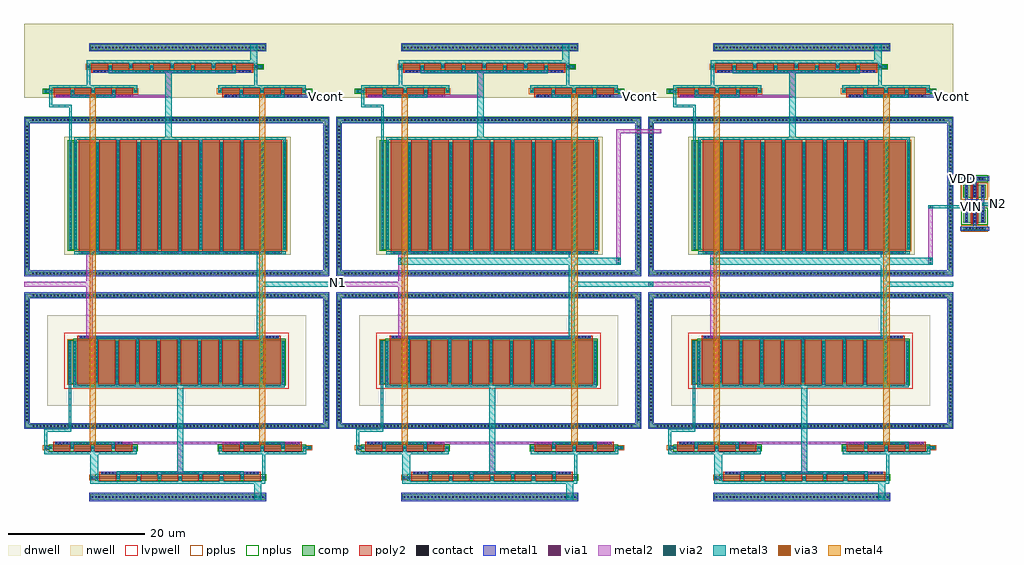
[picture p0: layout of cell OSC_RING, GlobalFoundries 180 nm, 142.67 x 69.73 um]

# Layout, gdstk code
from math import pi, radians
import gdstk
lib = gdstk.Library(unit=1e-6, precision=5e-09)
def R(c, l, rs):  # rectangles x0, y0, x1, y1
    for r in rs: c.add(gdstk.rectangle(r[:2], r[2:], *l))
def A(c, l, x, y, w, h, nx, ny, dx, dy):  # array of equal rectangles
    R(c, l, [(x+i*dx, y+j*dy, x+i*dx+w, y+j*dy+h) for i in range(nx) for j in range(ny)])
def P(c, l, *ps):  # polygons
    for p in ps: c.add(gdstk.Polygon(p, *l))
dnwell = (12, 0)
nwell = (21, 0)
comp = (22, 0)
poly2 = (30, 0)
pplus = (31, 0)
nplus = (32, 0)
contact = (33, 0)
metal1 = (34, 0)
via1 = (35, 0)
metal2 = (36, 0)
via2 = (38, 0)
via3 = (40, 0)
metal3 = (42, 0)
metal4 = (46, 0)
lvpwell = (204, 0)

nfet_2_1 = lib.new_cell('nfet$2$1')
R(nfet_2_1, comp, [(-0.42,-0.01,0,0.43), (11.94,-0.01,12.36,0.43), (12.36,-0.01,13.07,0.43), (0,0,11.94,0.42)])
A(nfet_2_1, poly2, 0.19, -0.3, 2.5, 1.02, 4, 1, 3.02, 0)
A(nfet_2_1, poly2, 0.19, 0.72, 2.5, 0.36, 4, 1, 3.02, 0)
R(nfet_2_1, pplus, [(12.36,-0.17,13.24,0.59)])
R(nfet_2_1, nplus, [(-0.59,-0.25,12.36,0.67)])
A(nfet_2_1, contact, 2.84, 0.1, 0.22, 0.22, 3, 1, 3.02, 0)
A(nfet_2_1, contact, 0.565, 0.79, 0.22, 0.22, 4, 1, 0.51, 0)
A(nfet_2_1, contact, 3.585, 0.79, 0.22, 0.22, 4, 1, 0.51, 0)
A(nfet_2_1, contact, 6.605, 0.79, 0.22, 0.22, 4, 1, 0.51, 0)
A(nfet_2_1, contact, 9.625, 0.79, 0.22, 0.22, 4, 1, 0.51, 0)
R(nfet_2_1, contact, [(-0.32,0.1,-0.1,0.32), (12.04,0.1,12.26,0.32), (12.75,0.1,12.97,0.32)])
A(nfet_2_1, metal1, 2.76, 0.02, 0.38, 0.38, 3, 1, 3.02, 0)
A(nfet_2_1, metal1, 0.485, 0.71, 1.91, 0.38, 4, 1, 3.02, 0)
R(nfet_2_1, metal1, [(-0.4,0.02,-0.02,0.4), (11.96,0.02,12.34,0.4), (12.67,0.02,13.05,0.4)])

pfet_6_1 = lib.new_cell('pfet$6$1')
R(pfet_6_1, nwell, [(-1.16,-0.71,13.83,1.13)])
R(pfet_6_1, comp, [(-0.46,-0.01,0,0.43), (11.94,-0.01,12.4,0.43), (12.4,-0.01,13.13,0.43), (0,0,11.94,0.42)])
A(pfet_6_1, poly2, 0.19, -0.3, 2.5, 1.02, 4, 1, 3.02, 0)
A(pfet_6_1, poly2, 0.19, 0.72, 2.5, 0.38, 4, 1, 3.02, 0)
R(pfet_6_1, pplus, [(-0.63,-0.25,12.4,0.67)])
R(pfet_6_1, nplus, [(12.4,-0.17,13.3,0.59)])
A(pfet_6_1, contact, 2.84, 0.1, 0.22, 0.22, 3, 1, 3.02, 0)
A(pfet_6_1, contact, 0.565, 0.8, 0.22, 0.22, 4, 1, 0.51, 0)
A(pfet_6_1, contact, 3.585, 0.8, 0.22, 0.22, 4, 1, 0.51, 0)
A(pfet_6_1, contact, 6.605, 0.8, 0.22, 0.22, 4, 1, 0.51, 0)
A(pfet_6_1, contact, 9.625, 0.8, 0.22, 0.22, 4, 1, 0.51, 0)
R(pfet_6_1, contact, [(-0.34,0.1,-0.12,0.32), (12.06,0.1,12.28,0.32), (12.79,0.1,13.01,0.32)])
A(pfet_6_1, metal1, 2.76, 0.02, 0.38, 0.38, 3, 1, 3.02, 0)
A(pfet_6_1, metal1, 0.485, 0.72, 1.91, 0.38, 4, 1, 3.02, 0)
R(pfet_6_1, metal1, [(-0.42,0.02,-0.04,0.4), (11.98,0.02,12.36,0.4), (12.71,0.02,13.09,0.4)])

pfet_7_1 = lib.new_cell('pfet$7$1')
R(pfet_7_1, nwell, [(-1.16,-0.71,13.83,1.13)])
R(pfet_7_1, comp, [(-0.46,-0.01,0,0.43), (11.94,-0.01,12.4,0.43), (12.4,-0.01,13.13,0.43), (0,0,11.94,0.42)])
A(pfet_7_1, poly2, 0.19, -0.3, 2.5, 1.02, 4, 1, 3.02, 0)
A(pfet_7_1, poly2, 0.19, 0.72, 2.5, 0.38, 4, 1, 3.02, 0)
R(pfet_7_1, pplus, [(-0.63,-0.25,12.4,0.67)])
R(pfet_7_1, nplus, [(12.4,-0.17,13.3,0.59)])
A(pfet_7_1, contact, 2.84, 0.1, 0.22, 0.22, 3, 1, 3.02, 0)
A(pfet_7_1, contact, 0.565, 0.8, 0.22, 0.22, 4, 1, 0.51, 0)
A(pfet_7_1, contact, 3.585, 0.8, 0.22, 0.22, 4, 1, 0.51, 0)
A(pfet_7_1, contact, 6.605, 0.8, 0.22, 0.22, 4, 1, 0.51, 0)
A(pfet_7_1, contact, 9.625, 0.8, 0.22, 0.22, 4, 1, 0.51, 0)
R(pfet_7_1, contact, [(-0.34,0.1,-0.12,0.32), (12.06,0.1,12.28,0.32), (12.79,0.1,13.01,0.32)])
A(pfet_7_1, metal1, 2.76, 0.02, 0.38, 0.38, 3, 1, 3.02, 0)
A(pfet_7_1, metal1, 0.485, 0.72, 1.91, 0.38, 4, 1, 3.02, 0)
R(pfet_7_1, metal1, [(-0.42,0.02,-0.04,0.4), (11.98,0.02,12.36,0.4), (12.71,0.02,13.09,0.4)])

pfet_8 = lib.new_cell('pfet$8')
R(pfet_8, nwell, [(-1.16,-0.71,25.91,1.13)])
R(pfet_8, comp, [(-0.46,-0.01,0,0.43), (24.02,-0.01,24.48,0.43), (24.48,-0.01,25.21,0.43), (0,0,24.02,0.42)])
A(pfet_8, poly2, 0.19, -0.3, 2.5, 1.02, 8, 1, 3.02, 0)
A(pfet_8, poly2, 0.19, 0.72, 2.5, 0.38, 8, 1, 3.02, 0)
R(pfet_8, pplus, [(-0.63,-0.25,24.48,0.67)])
R(pfet_8, nplus, [(24.48,-0.17,25.38,0.59)])
A(pfet_8, contact, 2.84, 0.1, 0.22, 0.22, 7, 1, 3.02, 0)
A(pfet_8, contact, 0.565, 0.8, 0.22, 0.22, 4, 1, 0.51, 0)
A(pfet_8, contact, 3.585, 0.8, 0.22, 0.22, 4, 1, 0.51, 0)
A(pfet_8, contact, 6.605, 0.8, 0.22, 0.22, 4, 1, 0.51, 0)
A(pfet_8, contact, 9.625, 0.8, 0.22, 0.22, 4, 1, 0.51, 0)
A(pfet_8, contact, 12.645, 0.8, 0.22, 0.22, 4, 1, 0.51, 0)
A(pfet_8, contact, 15.665, 0.8, 0.22, 0.22, 4, 1, 0.51, 0)
A(pfet_8, contact, 18.685, 0.8, 0.22, 0.22, 4, 1, 0.51, 0)
A(pfet_8, contact, 21.705, 0.8, 0.22, 0.22, 4, 1, 0.51, 0)
R(pfet_8, contact, [(-0.34,0.1,-0.12,0.32), (24.14,0.1,24.36,0.32), (24.87,0.1,25.09,0.32)])
A(pfet_8, metal1, 2.76, 0.02, 0.38, 0.38, 7, 1, 3.02, 0)
A(pfet_8, metal1, 0.485, 0.72, 1.91, 0.38, 8, 1, 3.02, 0)
R(pfet_8, metal1, [(-0.42,0.02,-0.04,0.4), (24.06,0.02,24.44,0.4), (24.79,0.02,25.17,0.4)])

nfet_1_1 = lib.new_cell('nfet$1$1')
R(nfet_1_1, comp, [(-0.42,-0.01,0,0.43), (24.02,-0.01,24.44,0.43), (24.44,-0.01,25.15,0.43), (0,0,24.02,0.42)])
A(nfet_1_1, poly2, 0.19, -0.3, 2.5, 1.02, 8, 1, 3.02, 0)
A(nfet_1_1, poly2, 0.19, 0.72, 2.5, 0.36, 8, 1, 3.02, 0)
R(nfet_1_1, pplus, [(24.44,-0.17,25.32,0.59)])
R(nfet_1_1, nplus, [(-0.59,-0.25,24.44,0.67)])
A(nfet_1_1, contact, 2.84, 0.1, 0.22, 0.22, 7, 1, 3.02, 0)
A(nfet_1_1, contact, 0.565, 0.79, 0.22, 0.22, 4, 1, 0.51, 0)
A(nfet_1_1, contact, 3.585, 0.79, 0.22, 0.22, 4, 1, 0.51, 0)
A(nfet_1_1, contact, 6.605, 0.79, 0.22, 0.22, 4, 1, 0.51, 0)
A(nfet_1_1, contact, 9.625, 0.79, 0.22, 0.22, 4, 1, 0.51, 0)
A(nfet_1_1, contact, 12.645, 0.79, 0.22, 0.22, 4, 1, 0.51, 0)
A(nfet_1_1, contact, 15.665, 0.79, 0.22, 0.22, 4, 1, 0.51, 0)
A(nfet_1_1, contact, 18.685, 0.79, 0.22, 0.22, 4, 1, 0.51, 0)
A(nfet_1_1, contact, 21.705, 0.79, 0.22, 0.22, 4, 1, 0.51, 0)
R(nfet_1_1, contact, [(-0.32,0.1,-0.1,0.32), (24.12,0.1,24.34,0.32), (24.83,0.1,25.05,0.32)])
A(nfet_1_1, metal1, 2.76, 0.02, 0.38, 0.38, 7, 1, 3.02, 0)
A(nfet_1_1, metal1, 0.485, 0.71, 1.91, 0.38, 8, 1, 3.02, 0)
R(nfet_1_1, metal1, [(-0.4,0.02,-0.02,0.4), (24.04,0.02,24.42,0.4), (24.75,0.02,25.13,0.4)])

nfet_10_1 = lib.new_cell('nfet$10$1')
R(nfet_10_1, dnwell, [(-3.55,-3.26,34.32,9.96)])
R(nfet_10_1, comp, [(-0.42,0,0,6.33), (0,0,30.06,6.33), (30.06,0,30.48,6.33), (30.48,0,31.19,6.33)])
P(nfet_10_1, comp, [(-6.75,-6.46),(-6.75,12.66),(-6.25,12.66),(-6.25,-5.96),(37.02,-5.96),(37.02,12.66),(-6.75,12.66),(-6.75,13.16),(37.52,13.16),(37.52,-6.46)])
A(nfet_10_1, poly2, 0.19, -0.3, 2.5, 6.93, 10, 1, 3.02, 0)
A(nfet_10_1, poly2, 0.19, 6.63, 2.5, 0.36, 10, 1, 3.02, 0)
R(nfet_10_1, pplus, [(30.48,-0.17,31.36,6.5)])
P(nfet_10_1, pplus, [(-6.92,-6.63),(-6.92,12.49),(-6.08,12.49),(-6.08,-5.79),(36.85,-5.79),(36.85,12.49),(-6.92,12.49),(-6.92,13.33),(37.69,13.33),(37.69,-6.63)])
R(nfet_10_1, nplus, [(-0.59,-0.24,30.48,6.57)])
A(nfet_10_1, contact, -5.635, -6.32, 0.22, 0.22, 83, 2, 0.51, 19.12)
A(nfet_10_1, contact, -6.61, -5.43, 0.22, 0.22, 1, 35, 0, 0.51)
A(nfet_10_1, contact, 37.16, -5.43, 0.22, 0.22, 1, 35, 0, 0.51)
A(nfet_10_1, contact, -0.32, 0.25, 0.22, 0.22, 1, 12, 0, 0.51)
A(nfet_10_1, contact, 2.84, 0.25, 0.22, 0.22, 9, 12, 3.02, 0.51)
A(nfet_10_1, contact, 30.16, 0.25, 0.22, 0.22, 1, 12, 0, 0.51)
A(nfet_10_1, contact, 30.87, 0.25, 0.22, 0.22, 1, 12, 0, 0.51)
A(nfet_10_1, contact, 0.565, 6.7, 0.22, 0.22, 4, 1, 0.51, 0)
A(nfet_10_1, contact, 3.585, 6.7, 0.22, 0.22, 4, 1, 0.51, 0)
A(nfet_10_1, contact, 6.605, 6.7, 0.22, 0.22, 4, 1, 0.51, 0)
A(nfet_10_1, contact, 9.625, 6.7, 0.22, 0.22, 4, 1, 0.51, 0)
A(nfet_10_1, contact, 12.645, 6.7, 0.22, 0.22, 4, 1, 0.51, 0)
A(nfet_10_1, contact, 15.665, 6.7, 0.22, 0.22, 4, 1, 0.51, 0)
A(nfet_10_1, contact, 18.685, 6.7, 0.22, 0.22, 4, 1, 0.51, 0)
A(nfet_10_1, contact, 21.705, 6.7, 0.22, 0.22, 4, 1, 0.51, 0)
A(nfet_10_1, contact, 24.725, 6.7, 0.22, 0.22, 4, 1, 0.51, 0)
A(nfet_10_1, contact, 27.745, 6.7, 0.22, 0.22, 4, 1, 0.51, 0)
A(nfet_10_1, metal1, 2.76, 0.17, 0.38, 5.99, 9, 1, 3.02, 0)
A(nfet_10_1, metal1, 0.485, 6.62, 1.91, 0.38, 10, 1, 3.02, 0)
R(nfet_10_1, metal1, [(-0.4,0.17,-0.02,6.16), (30.08,0.17,30.46,6.16), (30.79,0.17,31.17,6.16)])
R(nfet_10_1, lvpwell, [(-1.04,-0.75,31.81,7.45)])

nfet_3 = lib.new_cell('nfet$3')
R(nfet_3, comp, [(-0.42,-0.01,0,0.43), (11.94,-0.01,12.36,0.43), (12.36,-0.01,13.07,0.43), (0,0,11.94,0.42)])
A(nfet_3, poly2, 0.19, -0.3, 2.5, 1.02, 4, 1, 3.02, 0)
A(nfet_3, poly2, 0.19, 0.72, 2.5, 0.36, 4, 1, 3.02, 0)
R(nfet_3, pplus, [(12.36,-0.17,13.24,0.59)])
R(nfet_3, nplus, [(-0.59,-0.25,12.36,0.67)])
A(nfet_3, contact, 2.84, 0.1, 0.22, 0.22, 3, 1, 3.02, 0)
A(nfet_3, contact, 0.565, 0.79, 0.22, 0.22, 4, 1, 0.51, 0)
A(nfet_3, contact, 3.585, 0.79, 0.22, 0.22, 4, 1, 0.51, 0)
A(nfet_3, contact, 6.605, 0.79, 0.22, 0.22, 4, 1, 0.51, 0)
A(nfet_3, contact, 9.625, 0.79, 0.22, 0.22, 4, 1, 0.51, 0)
R(nfet_3, contact, [(-0.32,0.1,-0.1,0.32), (12.04,0.1,12.26,0.32), (12.75,0.1,12.97,0.32)])
A(nfet_3, metal1, 2.76, 0.02, 0.38, 0.38, 3, 1, 3.02, 0)
A(nfet_3, metal1, 0.485, 0.71, 1.91, 0.38, 4, 1, 3.02, 0)
R(nfet_3, metal1, [(-0.4,0.02,-0.02,0.4), (11.96,0.02,12.34,0.4), (12.67,0.02,13.05,0.4)])

pfet_4_1 = lib.new_cell('pfet$4$1')
R(pfet_4_1, nwell, [(-1.15,-0.69,31.94,16.515)])
R(pfet_4_1, comp, [(-0.46,0,0,15.825), (0,0,30.06,15.825), (30.06,0,30.52,15.825), (30.52,0,31.25,15.825)])
A(pfet_4_1, poly2, 0.19, -0.68, 2.5, 0.38, 10, 1, 3.02, 0)
A(pfet_4_1, poly2, 0.19, -0.3, 2.5, 16.425, 10, 1, 3.02, 0)
R(pfet_4_1, pplus, [(-0.63,-0.24,30.52,16.065)])
R(pfet_4_1, nplus, [(30.52,-0.17,31.42,15.995)])
A(pfet_4_1, contact, 0.565, -0.6, 0.22, 0.22, 4, 1, 0.51, 0)
A(pfet_4_1, contact, 3.585, -0.6, 0.22, 0.22, 4, 1, 0.51, 0)
A(pfet_4_1, contact, 6.605, -0.6, 0.22, 0.22, 4, 1, 0.51, 0)
A(pfet_4_1, contact, 9.625, -0.6, 0.22, 0.22, 4, 1, 0.51, 0)
A(pfet_4_1, contact, 12.645, -0.6, 0.22, 0.22, 4, 1, 0.51, 0)
A(pfet_4_1, contact, 15.665, -0.6, 0.22, 0.22, 4, 1, 0.51, 0)
A(pfet_4_1, contact, 18.685, -0.6, 0.22, 0.22, 4, 1, 0.51, 0)
A(pfet_4_1, contact, 21.705, -0.6, 0.22, 0.22, 4, 1, 0.51, 0)
A(pfet_4_1, contact, 24.725, -0.6, 0.22, 0.22, 4, 1, 0.51, 0)
A(pfet_4_1, contact, 27.745, -0.6, 0.22, 0.22, 4, 1, 0.51, 0)
A(pfet_4_1, contact, -0.34, 0.155, 0.22, 0.22, 1, 31, 0, 0.51)
A(pfet_4_1, contact, 2.84, 0.155, 0.22, 0.22, 9, 31, 3.02, 0.51)
A(pfet_4_1, contact, 30.18, 0.155, 0.22, 0.22, 1, 31, 0, 0.51)
A(pfet_4_1, contact, 30.91, 0.155, 0.22, 0.22, 1, 31, 0, 0.51)
A(pfet_4_1, metal1, 0.485, -0.68, 1.91, 0.38, 10, 1, 3.02, 0)
A(pfet_4_1, metal1, 2.76, 0.075, 0.38, 15.68, 9, 1, 3.02, 0)
R(pfet_4_1, metal1, [(-0.42,0.075,-0.04,15.755), (30.1,0.075,30.48,15.755), (30.83,0.075,31.21,15.755)])

osc_inv_1 = lib.new_cell('OSC_INV$1')
R(osc_inv_1, nwell, [(0,-306.74,44.61,-295.98)])
R(osc_inv_1, comp, [(9.35,-365.56,34.94,-364.69), (0.17,-332.67,43.93,-332.17), (43.93,-332.67,44.43,-310.23), (0.17,-332.17,0.67,-310.23), (0.17,-310.23,44.43,-309.73), (9.35,-299.82,34.94,-298.95)])
R(osc_inv_1, pplus, [(9.19,-365.71,35.1,-364.53)])
R(osc_inv_1, nplus, [(0,-332.83,43.77,-331.99), (43.77,-332.83,44.61,-310.41), (0,-331.99,0.84,-310.41), (0,-310.41,44.61,-309.57), (9.19,-299.98,35.1,-298.8)])
A(osc_inv_1, contact, 9.53, -365.23, 0.22, 0.22, 50, 2, 0.51, 65.73)
A(osc_inv_1, contact, 1.33, -332.53, 0.22, 0.22, 83, 2, 0.51, 22.44)
A(osc_inv_1, contact, 0.31, -331.51, 0.22, 0.22, 1, 41, 0, 0.51)
A(osc_inv_1, contact, 44.07, -331.51, 0.22, 0.22, 1, 41, 0, 0.51)
R(osc_inv_1, metal1, [(9.19,-365.71,35.1,-364.53), (12.175,-361.78,32.925,-361.4), (5.465,-357.44,14.765,-357.06), (29.53,-357.44,38.675,-357.06), (0,-355.18,43.77,-354.34), (43.77,-355.18,44.61,-336.06), (0,-354.34,0.84,-336.06), (9.315,-341.93,34.75,-341.55), (0,-336.06,44.61,-335.22), (0,-332.83,43.77,-331.99), (43.77,-332.83,44.61,-310.46), (0,-331.99,0.84,-310.46), (9.165,-329.67,35.66,-329.29), (0,-310.46,44.61,-309.62), (0,-306.71,4.335,-306.33), (6.245,-306.71,14.06,-306.33), (29.56,-306.71,38.085,-306.33), (13.33,-303.12,33.65,-302.74), (9.19,-299.98,35.1,-298.8)])
A(osc_inv_1, via1, 12.6, -362.41, 0.26, 0.26, 7, 1, 3.02, 0)
A(osc_inv_1, via1, 6.61, -358.07, 0.26, 0.26, 3, 1, 3.02, 0)
A(osc_inv_1, via1, 31.42, -358.07, 0.26, 0.26, 3, 1, 3.02, 0)
A(osc_inv_1, via1, 6.58, -347.92, 0.26, 0.26, 1, 11, 0, 0.52)
A(osc_inv_1, via1, 9.74, -347.92, 0.26, 0.26, 9, 11, 3.02, 0.52)
A(osc_inv_1, via1, 37.06, -347.92, 0.26, 0.26, 1, 11, 0, 0.52)
A(osc_inv_1, via1, 37.77, -347.92, 0.26, 0.26, 1, 11, 0, 0.52)
A(osc_inv_1, via1, 6.41, -328.85, 0.26, 0.26, 1, 30, 0, 0.52)
A(osc_inv_1, via1, 9.59, -328.85, 0.26, 0.26, 9, 30, 3.02, 0.52)
A(osc_inv_1, via1, 36.93, -328.85, 0.26, 0.26, 1, 30, 0, 0.52)
A(osc_inv_1, via1, 37.66, -328.85, 0.26, 0.26, 1, 30, 0, 0.52)
A(osc_inv_1, via1, 6.67, -305.95, 0.26, 0.26, 3, 1, 3.02, 0)
A(osc_inv_1, via1, 31.36, -305.95, 0.26, 0.26, 3, 1, 3.02, 0)
A(osc_inv_1, via1, 13.755, -302.36, 0.26, 0.26, 7, 1, 3.02, 0)
R(osc_inv_1, via1, [(10,-365.23,10.26,-364.97), (10.54,-365.23,10.8,-364.97), (9.44,-362.41,9.7,-362.15), (33.88,-362.41,34.14,-362.15), (34.59,-362.41,34.85,-362.15), (21.395,-361.72,21.655,-361.46), (21.915,-361.72,22.175,-361.46), (2.74,-358.07,3,-357.81), (3.45,-358.07,3.71,-357.81), (15.81,-358.07,16.07,-357.81), (28.26,-358.07,28.52,-357.81), (40.62,-358.07,40.88,-357.81), (41.33,-358.07,41.59,-357.81), (5.035,-357.38,5.295,-357.12), (5.555,-357.38,5.815,-357.12), (5.555,-357.38,5.815,-357.12), (5.555,-357.38,5.815,-357.12), (6.075,-357.38,6.335,-357.12), (6.075,-357.38,6.335,-357.12), (6.075,-357.38,6.335,-357.12), (6.595,-357.38,6.855,-357.12), (6.595,-357.38,6.855,-357.12), (6.595,-357.38,6.855,-357.12), (7.115,-357.38,7.375,-357.12), (7.115,-357.38,7.375,-357.12), (7.115,-357.38,7.375,-357.12), (7.635,-357.38,7.895,-357.12), (7.635,-357.38,7.895,-357.12), (7.635,-357.38,7.895,-357.12), (8.155,-357.38,8.415,-357.12), (8.155,-357.38,8.415,-357.12), (8.155,-357.38,8.415,-357.12), (8.675,-357.38,8.935,-357.12), (8.675,-357.38,8.935,-357.12), (8.675,-357.38,8.935,-357.12), (9.195,-357.38,9.455,-357.12), (9.195,-357.38,9.455,-357.12), (9.195,-357.38,9.455,-357.12), (9.715,-357.38,9.975,-357.12), (9.715,-357.38,9.975,-357.12), (9.715,-357.38,9.975,-357.12), (10.235,-357.38,10.495,-357.12), (10.235,-357.38,10.495,-357.12), (10.755,-357.38,11.015,-357.12), (10.755,-357.38,11.015,-357.12), (11.275,-357.38,11.535,-357.12), (11.275,-357.38,11.535,-357.12), (11.795,-357.38,12.055,-357.12), (11.795,-357.38,12.055,-357.12), (12.315,-357.38,12.575,-357.12), (12.315,-357.38,12.575,-357.12), (12.835,-357.38,13.095,-357.12), (12.835,-357.38,13.095,-357.12), (13.355,-357.38,13.615,-357.12), (13.355,-357.38,13.615,-357.12), (13.875,-357.38,14.135,-357.12), (13.875,-357.38,14.135,-357.12), (14.395,-357.38,14.655,-357.12), (14.395,-357.38,14.655,-357.12), (14.915,-357.38,15.175,-357.12), (29.155,-357.38,29.415,-357.12), (29.675,-357.38,29.935,-357.12), (37.76,-354.91,38.02,-354.65), (34.64,-341.87,34.9,-341.61), (35.16,-341.87,35.42,-341.61), (34.64,-329.61,34.9,-329.35), (35.16,-329.61,35.42,-329.35), (37.66,-310.13,37.92,-309.87), (29.075,-306.65,29.335,-306.39), (29.595,-306.65,29.855,-306.39), (29.595,-306.65,29.855,-306.39), (30.115,-306.65,30.375,-306.39), (30.115,-306.65,30.375,-306.39), (30.635,-306.65,30.895,-306.39), (30.635,-306.65,30.895,-306.39), (31.155,-306.65,31.415,-306.39), (31.155,-306.65,31.415,-306.39), (31.675,-306.65,31.935,-306.39), (31.675,-306.65,31.935,-306.39), (32.195,-306.65,32.455,-306.39), (32.195,-306.65,32.455,-306.39), (32.715,-306.65,32.975,-306.39), (32.715,-306.65,32.975,-306.39), (33.235,-306.65,33.495,-306.39), (33.235,-306.65,33.495,-306.39), (33.755,-306.65,34.015,-306.39), (33.755,-306.65,34.015,-306.39), (34.275,-306.65,34.535,-306.39), (34.275,-306.65,34.535,-306.39), (34.795,-306.65,35.055,-306.39), (34.795,-306.65,35.055,-306.39), (35.315,-306.65,35.575,-306.39), (35.315,-306.65,35.575,-306.39), (35.835,-306.65,36.095,-306.39), (35.835,-306.65,36.095,-306.39), (36.355,-306.65,36.615,-306.39), (36.355,-306.65,36.615,-306.39), (36.875,-306.65,37.135,-306.39), (36.875,-306.65,37.135,-306.39), (37.395,-306.65,37.655,-306.39), (37.395,-306.65,37.655,-306.39), (37.915,-306.65,38.175,-306.39), (37.915,-306.65,38.175,-306.39), (38.435,-306.65,38.695,-306.39), (38.435,-306.65,38.695,-306.39), (38.955,-306.65,39.215,-306.39), (38.955,-306.65,39.215,-306.39), (39.475,-306.65,39.735,-306.39), (2.76,-305.95,3.02,-305.69), (3.49,-305.95,3.75,-305.69), (15.89,-305.95,16.15,-305.69), (28.18,-305.95,28.44,-305.69), (40.58,-305.95,40.84,-305.69), (41.31,-305.95,41.57,-305.69), (23.105,-303.06,23.365,-302.8), (23.625,-303.06,23.885,-302.8), (9.845,-302.36,10.105,-302.1), (10.575,-302.36,10.835,-302.1), (35.055,-302.36,35.315,-302.1), (10.58,-299.54,10.84,-299.28), (11.12,-299.54,11.38,-299.28)])
A(osc_inv_1, metal2, 12.5, -362.505, 0.45, 0.45, 7, 1, 3.02, 0)
A(osc_inv_1, metal2, 6.52, -358.165, 0.45, 0.45, 3, 1, 3.02, 0)
A(osc_inv_1, metal2, 31.32, -358.165, 0.45, 0.45, 3, 1, 3.02, 0)
A(osc_inv_1, metal2, 12.7, -348.69, 0.38, 6.3, 4, 1, 6.04, 0)
A(osc_inv_1, metal2, 9.68, -348.38, 0.38, 6.3, 5, 1, 6.04, 0)
A(osc_inv_1, metal2, 9.53, -329.225, 0.38, 15.99, 5, 1, 6.04, 0)
A(osc_inv_1, metal2, 12.55, -328.915, 0.38, 15.995, 4, 1, 6.04, 0)
A(osc_inv_1, metal2, 6.58, -306.045, 0.45, 0.45, 3, 1, 3.02, 0)
A(osc_inv_1, metal2, 31.26, -306.045, 0.45, 0.45, 3, 1, 3.02, 0)
A(osc_inv_1, metal2, 13.665, -302.455, 0.45, 0.45, 7, 1, 3.02, 0)
R(osc_inv_1, metal2, [(9.9,-365.56,10.93,-364.53), (9.34,-362.505,9.79,-362.055), (33.78,-362.505,34.23,-362.055), (34.23,-362.505,34.94,-362.055), (21.335,-361.775,22.235,-357.06), (2.65,-358.165,3.36,-357.715), (3.36,-358.165,3.81,-357.715), (15.72,-358.165,16.17,-357.715), (28.16,-358.165,28.61,-357.715), (40.52,-358.165,41.23,-357.715), (41.23,-358.165,41.68,-357.715), (4.27,-357.435,21.335,-357.05), (22.235,-357.435,30.205,-357.055), (37.69,-355.18,38.09,-354.34), (6.52,-348.69,6.9,-342.39), (37,-348.69,37.38,-342.39), (37.71,-348.69,38.09,-342.39), (34.58,-341.93,35.48,-329.29), (35.48,-334.39,40.84,-333.63), (40.84,-334.39,43.85,-333.63), (43.85,-334.39,44.61,-333.63), (6.35,-328.92,6.73,-312.92), (37.6,-328.915,37.98,-313.235), (36.87,-328.91,37.25,-312.92), (37.6,-310.46,37.98,-309.62), (23.045,-306.71,23.945,-302.74), (23.945,-306.71,39.995,-306.33), (2.67,-306.045,3.4,-305.595), (3.4,-306.045,3.85,-305.595), (15.8,-306.045,16.25,-305.595), (28.08,-306.045,28.53,-305.595), (40.48,-306.045,40.93,-305.595), (40.93,-306.045,41.66,-305.595), (9.755,-302.455,10.205,-302.005), (10.485,-302.455,10.935,-302.005), (34.965,-302.455,35.415,-302.005), (10.48,-299.98,11.51,-298.95)])
A(osc_inv_1, via2, 12.6, -362.41, 0.26, 0.26, 7, 1, 3.02, 0)
A(osc_inv_1, via2, 6.61, -358.07, 0.26, 0.26, 3, 1, 3.02, 0)
A(osc_inv_1, via2, 31.42, -358.07, 0.26, 0.26, 3, 1, 3.02, 0)
A(osc_inv_1, via2, 6.58, -347.92, 0.26, 0.26, 1, 11, 0, 0.52)
A(osc_inv_1, via2, 9.74, -347.92, 0.26, 0.26, 9, 11, 3.02, 0.52)
A(osc_inv_1, via2, 37.77, -347.92, 0.26, 0.26, 1, 11, 0, 0.52)
A(osc_inv_1, via2, 37.06, -347.4, 0.26, 0.26, 1, 10, 0, 0.52)
A(osc_inv_1, via2, 6.41, -328.85, 0.26, 0.26, 1, 30, 0, 0.52)
A(osc_inv_1, via2, 9.59, -328.85, 0.26, 0.26, 9, 30, 3.02, 0.52)
A(osc_inv_1, via2, 36.93, -328.85, 0.26, 0.26, 1, 30, 0, 0.52)
A(osc_inv_1, via2, 37.66, -328.85, 0.26, 0.26, 1, 30, 0, 0.52)
A(osc_inv_1, via2, 6.67, -305.95, 0.26, 0.26, 3, 1, 3.02, 0)
A(osc_inv_1, via2, 31.36, -305.95, 0.26, 0.26, 3, 1, 3.02, 0)
A(osc_inv_1, via2, 13.75, -302.36, 0.26, 0.26, 7, 1, 3.02, 0)
R(osc_inv_1, via2, [(10,-365.23,10.26,-364.97), (10.54,-365.23,10.8,-364.97), (9.44,-362.41,9.7,-362.15), (33.88,-362.41,34.14,-362.15), (34.59,-362.41,34.85,-362.15), (2.74,-358.07,3,-357.81), (3.45,-358.07,3.71,-357.81), (15.81,-358.07,16.07,-357.81), (28.26,-358.07,28.52,-357.81), (40.62,-358.07,40.88,-357.81), (41.33,-358.07,41.59,-357.81), (9.37,-357.38,9.63,-357.12), (9.89,-357.38,10.15,-357.12), (37.76,-354.91,38.02,-354.65), (6.41,-328.85,6.67,-328.59), (37.66,-310.13,37.92,-309.87), (34.175,-306.675,34.435,-306.415), (34.695,-306.675,34.955,-306.415), (2.76,-305.95,3.02,-305.69), (3.49,-305.95,3.75,-305.69), (15.89,-305.95,16.15,-305.69), (15.89,-305.95,16.15,-305.69), (28.18,-305.95,28.44,-305.69), (40.58,-305.95,40.84,-305.69), (41.31,-305.95,41.57,-305.69), (9.84,-302.36,10.1,-302.1), (10.57,-302.36,10.83,-302.1), (35.05,-302.36,35.31,-302.1), (10.58,-299.54,10.84,-299.28), (11.12,-299.54,11.38,-299.28)])
R(osc_inv_1, via3, [(9.37,-357.35,9.63,-357.09), (9.89,-357.35,10.15,-357.09), (34.175,-357.345,34.435,-357.085), (34.695,-357.345,34.955,-357.085), (34.175,-306.675,34.435,-306.415), (34.695,-306.675,34.955,-306.415), (9.37,-306.67,9.63,-306.41), (9.89,-306.67,10.15,-306.41)])
A(osc_inv_1, metal3, 15.52, -362.815, 0.45, 0.76, 3, 1, 6.04, 0)
A(osc_inv_1, metal3, 12.5, -362.505, 0.45, 0.76, 4, 1, 6.04, 0)
A(osc_inv_1, metal3, 3.36, -358.475, 0.45, 0.76, 3, 1, 6.18, 0)
A(osc_inv_1, metal3, 12.7, -348.69, 0.38, 6.3, 4, 1, 6.04, 0)
A(osc_inv_1, metal3, 9.68, -348.38, 0.38, 6.3, 5, 1, 6.04, 0)
A(osc_inv_1, metal3, 9.53, -329.225, 0.38, 15.99, 5, 1, 6.04, 0)
A(osc_inv_1, metal3, 12.55, -328.915, 0.38, 15.995, 4, 1, 6.04, 0)
A(osc_inv_1, metal3, 3.4, -306.045, 0.45, 0.76, 3, 1, 6.2, 0)
A(osc_inv_1, metal3, 28.08, -306.045, 0.45, 0.76, 3, 1, 6.2, 0)
A(osc_inv_1, metal3, 13.66, -302.765, 0.45, 0.76, 4, 1, 6.04, 0)
A(osc_inv_1, metal3, 16.68, -302.455, 0.45, 0.76, 3, 1, 6.04, 0)
R(osc_inv_1, metal3, [(9.9,-365.56,10.93,-363.2), (9.34,-363.2,34.94,-362.815), (9.34,-362.815,9.79,-362.055), (33.78,-362.815,34.23,-362.055), (34.23,-362.815,34.94,-362.055), (9.34,-362.055,9.79,-358.855), (33.78,-362.055,34.94,-358.855), (12.5,-361.745,31.07,-361.365), (21.335,-361.365,22.235,-349.07), (3.36,-358.855,16.17,-358.475), (28.16,-358.855,41.68,-358.475), (28.16,-358.475,28.61,-357.715), (34.34,-358.475,34.79,-357.715), (41.23,-358.475,41.68,-357.715), (2.65,-358.165,3.36,-357.715), (6.52,-358.165,6.97,-357.405), (12.56,-358.165,13.01,-357.405), (31.32,-358.165,31.77,-357.405), (37.36,-358.165,37.81,-357.405), (40.52,-358.165,41.23,-357.715), (41.23,-357.715,41.68,-355.58), (6.52,-357.405,13.01,-357.025), (31.32,-357.405,37.81,-357.025), (37.69,-355.58,41.68,-355.18), (37.69,-355.18,38.09,-348.69), (6.52,-349.07,37.38,-348.69), (6.52,-348.69,6.9,-342.39), (37,-348.69,37.38,-342.39), (37.69,-348.69,38.09,-342.39), (9.68,-342.08,34.22,-341.7), (9.68,-341.7,10.58,-329.61), (0,-334.39,9.68,-333.63), (6.36,-329.61,37.26,-329.225), (6.35,-328.92,6.73,-312.92), (37.6,-328.915,37.98,-313.235), (36.87,-328.91,37.25,-312.92), (37.6,-313.235,37.98,-308.13), (6.35,-312.92,37.25,-312.54), (23.045,-312.54,23.945,-303.145), (37.6,-308.13,40.93,-307.75), (40.48,-307.75,40.93,-306.045), (6.58,-306.745,13.07,-306.355), (31.26,-306.735,37.75,-306.355), (6.58,-306.355,7.03,-305.595), (12.62,-306.355,13.07,-305.595), (31.26,-306.355,31.71,-305.595), (37.3,-306.355,37.75,-305.595), (2.67,-306.045,3.4,-305.595), (40.93,-306.045,41.66,-305.595), (3.4,-305.285,16.25,-304.905), (28.08,-305.285,40.93,-304.905), (10.48,-304.905,10.93,-302.455), (34.96,-304.905,35.41,-302.455), (13.66,-303.145,32.23,-302.765), (9.75,-302.455,10.48,-302.005), (10.48,-302.455,10.93,-301.695), (34.96,-302.455,35.41,-301.695), (10.48,-301.695,35.41,-301.315), (10.48,-301.315,11.51,-298.95)])
R(osc_inv_1, metal4, [(9.31,-357.405,10.21,-306.355), (34.115,-357.405,35.015,-306.355)])
osc_inv_1.add(gdstk.Reference(nfet_2_1, (28.6,-358.15)))
osc_inv_1.add(gdstk.Reference(pfet_6_1, (28.54,-305.61), x_reflection=True))
osc_inv_1.add(gdstk.Reference(pfet_7_1, (15.79,-305.61), rotation=pi))
osc_inv_1.add(gdstk.Reference(pfet_8, (34.955,-302.02), rotation=pi))
osc_inv_1.add(gdstk.Reference(nfet_1_1, (9.78,-362.49)))
osc_inv_1.add(gdstk.Reference(nfet_10_1, (6.92,-348.55)))
osc_inv_1.add(gdstk.Reference(nfet_3, (15.73,-358.15), rotation=pi, x_reflection=True))
osc_inv_1.add(gdstk.Reference(pfet_4_1, (6.77,-328.99)))
osc_inv_1.add(gdstk.Label('VSS', (10.42,-365.28), layer=34, texttype=10))
osc_inv_1.add(gdstk.Label('VDD', (10.995,-299.465), layer=34, texttype=10))
osc_inv_1.add(gdstk.Label('Vcont', (0.32,-306.56), layer=34, texttype=10))
osc_inv_1.add(gdstk.Label('VOUT', (0.2,-333.9), layer=42, texttype=10))
osc_inv_1.add(gdstk.Label('VDD', (35.14,-301.48), layer=42, texttype=10))
osc_inv_1.add(gdstk.Label('VSS', (34.94,-363.01), layer=42, texttype=10))
osc_inv_1.add(gdstk.Label('VIN', (44.45,-333.74), layer=36, texttype=10))

buff = lib.new_cell('BUFF')
R(buff, nwell, [(-0.5,3.58,3.78,8.16)])
R(buff, comp, [(0,0.16,3.28,0.52), (0,1.22,3.28,3.09), (0,4.89,3.28,6.76), (0,7.46,3.28,7.82)])
R(buff, poly2, [(1.1,1,1.38,6.98), (1.9,1,2.18,6.98), (1.02,3.33,1.46,3.77), (1.82,4.21,2.26,4.65)])
R(buff, pplus, [(-0.3,-0.14,3.58,0.82), (-0.3,4.59,3.58,7.06)])
R(buff, nplus, [(-0.3,0.92,3.58,3.39), (-0.3,7.16,3.58,8.12)])
A(buff, contact, 0.355, 0.23, 0.22, 0.22, 6, 2, 0.47, 7.3)
A(buff, contact, 0.34, 1.34, 0.22, 0.22, 1, 4, 0, 0.47)
A(buff, contact, 0.34, 1.34, 0.22, 0.22, 3, 4, 1.19, 0.47)
A(buff, contact, 0.34, 5.01, 0.22, 0.22, 1, 4, 0, 0.47)
A(buff, contact, 0.34, 5.01, 0.22, 0.22, 3, 4, 1.19, 0.47)
R(buff, contact, [(1.13,3.44,1.35,3.66), (1.93,4.32,2.15,4.54)])
R(buff, metal1, [(-0.5,0.04,3.78,0.64), (1.43,0.34,1.85,3.03), (0.24,1.28,0.66,6.7), (2.62,1.28,3.04,6.7), (1.02,3.33,1.46,3.77), (0.24,4.21,2.26,4.65), (1.82,4.21,2.26,4.65), (1.43,4.95,1.85,7.64), (-0.5,7.34,3.78,7.94)])
buff.add(gdstk.Label('VIN', (1.24,3.55), layer=34, texttype=10))
buff.add(gdstk.Label('VOUT', (2.83,3.99), layer=34, texttype=10))
buff.add(gdstk.Label('VSS', (1.64,0.34), layer=34, texttype=10))
buff.add(gdstk.Label('VDD', (1.64,7.64), layer=34, texttype=10))

osc_ring = lib.new_cell('OSC_RING')
R(osc_ring, nwell, [(44.61,56.46,45.61,67.22), (90.22,56.46,91.22,67.22)])
R(osc_ring, via1, [(138.44,40.38,138.7,40.64), (140.04,40.75,140.3,41.01)])
R(osc_ring, metal2, [(86.58,32.01,87.25,51.7), (132.19,32.01,132.86,40.73), (138.35,40.29,138.79,40.73), (139.95,40.66,140.39,41.1), (86.58,51.26,93.18,51.84)])
R(osc_ring, via2, [(45.86,29.04,46.12,29.3), (91.47,29.04,91.73,29.3), (55.04,32.12,55.3,32.38), (86.78,32.12,87.04,32.38), (100.65,32.12,100.91,32.38), (132.39,32.12,132.65,32.38), (86.78,32.64,87.04,32.9), (132.39,32.64,132.65,32.9), (55.035,32.65,55.295,32.91), (100.645,32.65,100.905,32.91), (132.39,40.38,132.65,40.64), (138.44,40.38,138.7,40.64), (140.04,40.75,140.3,41.01)])
R(osc_ring, metal3, [(44.61,28.81,46.37,29.57), (90.22,28.81,91.98,29.57), (54.74,32.01,87.25,33.02), (100.35,32.01,132.86,33.02), (132.19,40.29,138.79,40.73), (139.95,40.66,142.67,41.1)])
osc_ring.add(gdstk.Reference(osc_inv_1, (135.83,363.2), rotation=pi, x_reflection=True))
osc_ring.add(gdstk.Reference(osc_inv_1, (90.22,363.2), rotation=pi, x_reflection=True))
osc_ring.add(gdstk.Reference(osc_inv_1, (44.61,363.2), rotation=pi, x_reflection=True))
osc_ring.add(gdstk.Reference(buff, (137.33,36.96)))
osc_ring.add(gdstk.Label('VDD', (137.2,44.62), layer=34, texttype=10))
osc_ring.add(gdstk.Label('Vcont', (135.72,56.61), layer=34, texttype=10))
osc_ring.add(gdstk.Label('Vcont', (90.07,56.68), layer=34, texttype=10))
osc_ring.add(gdstk.Label('Vcont', (44.18,56.61), layer=34, texttype=10))
osc_ring.add(gdstk.Label('N2', (142.46,40.91), layer=42, texttype=10))
osc_ring.add(gdstk.Label('VIN', (138.57,40.48), layer=42, texttype=10))
osc_ring.add(gdstk.Label('N1', (46.01,29.36), layer=36, texttype=10))

lib.write_gds('OSC_RING.gds')
